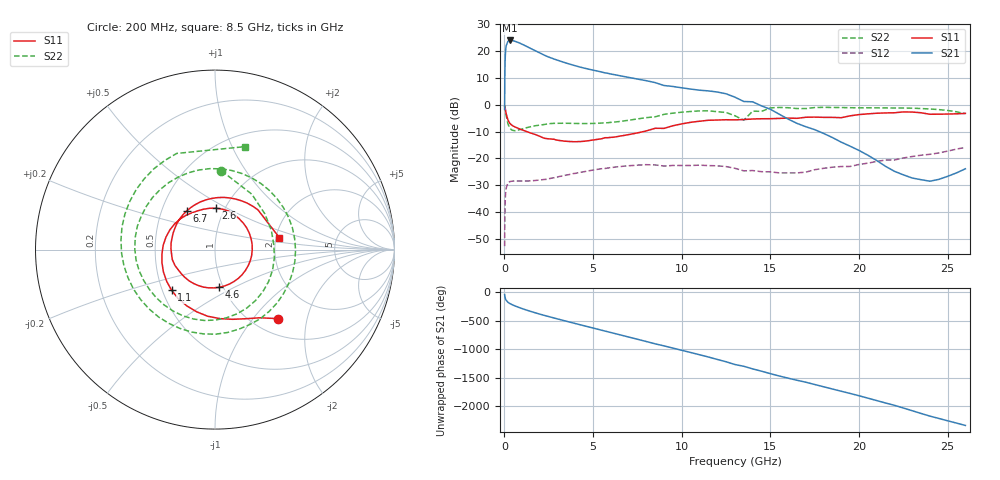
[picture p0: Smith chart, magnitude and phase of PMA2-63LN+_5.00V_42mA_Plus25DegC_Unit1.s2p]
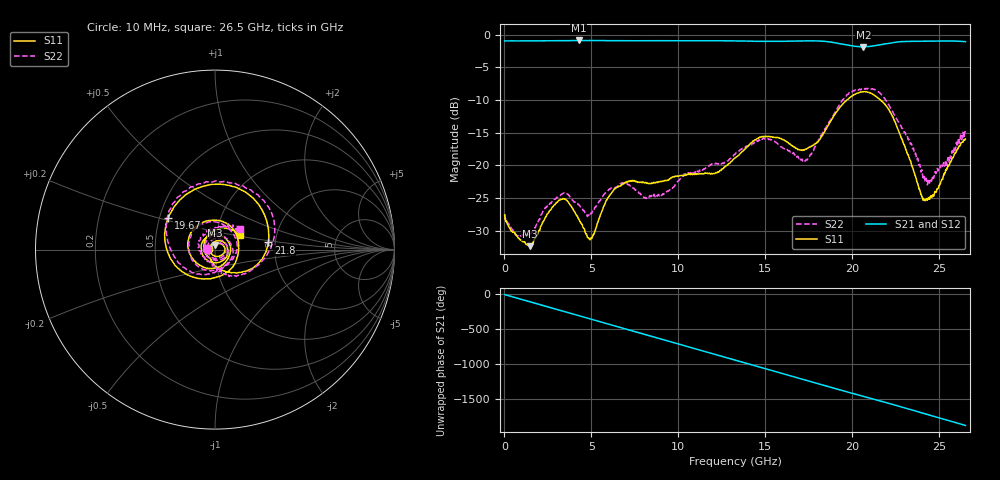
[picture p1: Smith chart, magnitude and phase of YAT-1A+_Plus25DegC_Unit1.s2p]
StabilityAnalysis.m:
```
clear
clc
close all

% Build a cascade (row vector) of RF elements
elements(1) = nport('PMA2-63LN+_5.00V_42mA_Plus25DegC_Unit1.s2p','PMA2_63LN');
elements(2) = nport('YAT-1A+_Plus25DegC_Unit1.s2p','YAT1A');
elements(3) = nport('PMA2-63LN+_5.00V_42mA_Plus25DegC_Unit1.s2p','PMA2_63LN');

% Construct an rfbudget object
bideal = rfbudget( ...
    'Elements',elements, ...
    'InputFrequency',10e9, ...
    'AvailableInputPower',-30, ...
    'SignalBandwidth',20e9, ...
    'Solver','Friis', ...
    'AutoUpdate',0);

show(bideal)

% Build a cascade (row vector) of RF elements
elements(1) = txlineMicrostrip( ...
    'Name','TransmissionLine', ...
    'Width',0.0041, ...
    'Height',0.000762, ...
    'Thickness',3.56e-05, ...
    'EpsilonR',3.66, ...
    'LossTangent',0.01, ...
    'LineLength',0.00508);
elements(2) = nport('PMA2-63LN+_5.00V_42mA_Plus25DegC_Unit1.s2p','PMA2_63LN');
elements(3) = nport('YAT-1A+_Plus25DegC_Unit1.s2p','YAT1A');
elements(4) = nport('PMA2-63LN+_5.00V_42mA_Plus25DegC_Unit1.s2p','PMA2_63LN');
elements(5) = txlineMicrostrip( ...
    'Name','TransmissionLine', ...
    'Width',0.0041, ...
    'Height',0.000762, ...
    'Thickness',3.56e-05, ...
    'EpsilonR',3.66, ...
    'LossTangent',0.01, ...
    'LineLength',0.00508);

% Construct an rfbudget object
b = rfbudget( ...
    'Elements',elements, ...
    'InputFrequency',10e9, ...
    'AvailableInputPower',-30, ...
    'SignalBandwidth',20e9, ...
    'Solver','Friis', ...
    'AutoUpdate',0);

show(b)
```
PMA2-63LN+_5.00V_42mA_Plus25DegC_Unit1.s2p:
!Keysight Technologies,N5242A,MY48320684,A.10.49.08
!Date: Friday, March 05, 2021 11:01:57
!Correction: S11(Full 2 Port(1,2))
!S21(Full 2 Port(1,2))
!S12(Full 2 Port(1,2))
!S22(Full 2 Port(1,2))
!S2P File: Measurements: S11, S21, S12, S22:
# Hz S  dB  R 50
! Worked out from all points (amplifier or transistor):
!   125 points, 10 MHz to 26 GHz, reference 50 ohm
!   highest |S21| = 24.0 dB at 300 MHz (marker M1)
!   |S21| within 3 dB of that: 77.76 MHz to 1.486 GHz (1.409 GHz wide, 180 % of centre)
!   unconditionally stable (mu >= 1): start of sweep to end of sweep
!   at 1.2 GHz: K = 1.16, MAG = 22.7 dB, |S12| = -28.4 dB
!   at 5.4 GHz: K = 1.50, MAG = 13.9 dB, |S12| = -23.9 dB
!   at 26 GHz: K = 13.72, MAG = -18.4 dB, |S12| = -15.9 dB
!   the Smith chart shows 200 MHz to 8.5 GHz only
!   S11 on the Smith chart (normalised r, x): 200 MHz: 1.28, -1.35; 1.1 GHz: 0.56, -0.28; 2.6 GHz: 0.91, +0.44; 4.6 GHz: 0.96, -0.42; 6.7 GHz: 0.67, +0.31; 8.5 GHz: 2.09, +0.32
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1e7  -0.55 -6.1  -1.70 -39.8  -52.71 137.8  -0.19 -51.8
7e7  -2.35 -29.2  20.49 -123.9  -32.63 64.7  -2.64 162.6
2e8  -5.69 -47.8  23.70 -175.5  -29.11 18.8  -7.11 85.4
3e8  -6.86 -56.8  24.00 164.1  -28.65 3.8  -8.62 56.4
1.1e9  -9.60 -137.0  22.28 63.4  -28.42 -55.4  -8.81 -51.5
2.6e9  -12.73 88.8  17.57 -74.1  -27.44 -138.0  -6.99 179.3
4.6e9  -13.50 -83.3  13.54 125.1  -24.81 100.7  -6.98 23.9
6.7e9  -11.47 125.7  10.61 -39.8  -22.89 -37.7  -6.04 -146.0
8.5e9  -8.75 10.4  8.29 177.3  -22.41 -162.1  -4.47 73.7
1.35e10  -5.48 76.5  1.24 143.7  -24.63 -123.5  -5.73 36.7
2.6e10  -3.18 -102.1  -23.85 -172.9  -15.86 147.5  -3.31 -55.6
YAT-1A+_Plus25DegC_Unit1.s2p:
!Keysight Technologies,N5242A,MY48320679,A.10.49.08
!Date: Tuesday, April 23, 2019 10:55:22
!Correction: S11(Full 2 Port(1,2))
!S21(Full 2 Port(1,2))
!S12(Full 2 Port(1,2))
!S22(Full 2 Port(1,2))
!S2P File: Measurements: S11, S21, S12, S22:
# Hz S  dB  R 50
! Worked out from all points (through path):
!   2650 points, 10 MHz to 26.5 GHz, reference 50 ohm
!   highest |S21| = -0.89 dB at 4.28 GHz (marker M1); lowest = -1.9 dB at 20.64 GHz (marker M2)
!   group delay of S21, straight-line fit = 196 ps
!   lowest |S11| = -32.4 dB at 1.46 GHz (marker M3), VSWR 1.05, Z = 50 + j2.41 ohm
!   |S11| at or under -10 dB: start of sweep to 19.68 GHz; 21.62 GHz to end of sweep
!   |S22| runs from -31.0 to -8.2 dB; largest |S21 - S12| = 0.0053
!   S11 on the Smith chart (normalised r, x): 10 MHz: 0.92, +0.00; 19.67 GHz: 0.56, +0.22; 21.8 GHz: 1.84, +0.16; 26.5 GHz: 1.30, +0.22
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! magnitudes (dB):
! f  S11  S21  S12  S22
! 10 MHz  -27.6  -1.0  -1.0  -27.6
! 1.46 GHz  -32.4  -1.0  -1.0  -30.7
! 3.22 GHz  -25.2  -0.9  -0.9  -24.6
! 4.28 GHz  -28.2  -0.9  -0.9  -26.0
! 13.26 GHz  -18.9  -1.0  -1.0  -18.3
! 17.3 GHz  -17.5  -1.0  -1.0  -19.3
! 19.67 GHz  -10.0  -1.6  -1.6  -9.3
! 20.64 GHz  -8.7  -1.9  -1.9  -8.3
! 21.8 GHz  -10.5  -1.5  -1.5  -9.6
! 24.18 GHz  -25.4  -1.0  -1.0  -22.4
! 26.5 GHz  -16.0  -1.1  -1.1  -15.0
